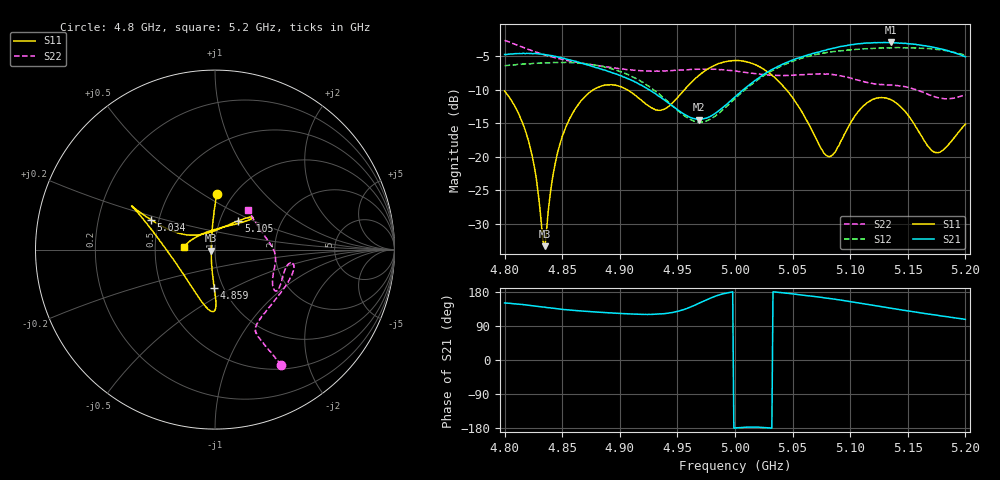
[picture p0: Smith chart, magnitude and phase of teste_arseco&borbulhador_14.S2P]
! Network Analyzer HP8722D
! Hewlett-Packard
! Data name: Linha & Wilkinson
! Saver's name: Rodrigo Anjos
! Comments: Teste da utilização de aquisição
! continua pelo VNA HP8722D
! Time and date: 15/4/2025 15:45
!  Frequency  S11  S21  S12  S22
# HZ  S  MA R 50
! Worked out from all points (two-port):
!   401 points, 4.8 GHz to 5.2 GHz, reference 50 ohm
!   highest |S21| = -2.91 dB at 5.135 GHz (marker M1); lowest = -14.4 dB at 4.969 GHz (marker M2)
!   |S21| within 3 dB of the highest: start of sweep to 4.865 GHz; 5.045 GHz to end of sweep
!   lowest |S11| = -33.4 dB at 4.835 GHz (marker M3), VSWR 1.04, Z = 48 - j0.528 ohm
!   |S11| at or under -10 dB: start of sweep to 4.877 GHz; 4.907 GHz to 4.956 GHz (49.45 MHz wide, 1 % of centre); 5.045 GHz to end of sweep
!   |S22| runs from -11.3 to -2.6 dB; largest |S21 - S12| = 1.3
!   S11 on the Smith chart (normalised r, x): 4.8 GHz: 0.84, +0.58; 4.859 GHz: 0.91, -0.40; 5.034 GHz: 0.45, +0.18; 5.105 GHz: 1.22, +0.41; 5.2 GHz: 0.70, +0.02
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4.8e9  0.3106 88.2  0.5821 150.5  0.4805 -111.4  0.7407 -60.1
4.812e9  0.2123 91.4  0.5913 147.3  0.4899 -111.0  0.6769 -61.1
4.821e9  0.1293 96.2  0.5924 144.4  0.4962 -110.6  0.6328 -61.9
4.827e9  0.07327 104.7  0.5913 142.3  0.4991 -110.0  0.6079 -62.3
4.833e9  0.02475 146.9  0.5836 139.8  0.5027 -109.6  0.5847 -62.7
4.835e9  0.02145 -165.1  0.5803 139.2  0.5044 -109.4  0.5774 -63.0
4.845e9  0.09852 -100.0  0.5596 135.6  0.5072 -108.7  0.5465 -63.5
4.859e9  0.2113 -91.2  0.5236 131.2  0.505 -108.5  0.5157 -63.9
4.867e9  0.2656 -89.4  0.4999 129.3  0.4993 -108.7  0.5014 -63.2
4.895e9  0.3435 -93.5  0.4208 123.6  0.4484 -111.4  0.4605 -57.2
4.934e9  0.2227 -145.8  0.2832 121.0  0.2959 -116.4  0.4366 -35.6
4.969e9  0.4073 159.0  0.1899 150.2  0.1816 -85.7  0.4519 -16.9
5e9  0.5248 152.4  0.2801 -179.6  0.2722 -49.8  0.4373 -9.9
5.034e9  0.3947 154.9  0.4582 179.6  0.4489 -43.3  0.4066 -15.3
5.067e9  0.1565 149.2  0.5906 168.3  0.5746 -46.4  0.4143 -29.2
5.083e9  0.1008 102.3  0.6406 161.9  0.6072 -49.4  0.4124 -33.7
5.105e9  0.2072 50.9  0.6954 151.6  0.636 -54.2  0.3772 -31.6
5.12e9  0.2691 42.5  0.7113 144.0  0.6466 -58.6  0.3519 -23.0
5.134e9  0.2699 40.2  0.7141 137.2  0.6509 -63.2  0.3439 -12.7
5.135e9  0.268 40.3  0.7154 136.8  0.653 -63.3  0.3439 -11.8
5.174e9  0.1075 104.1  0.6533 118.8  0.6373 -77.2  0.2798 19.9
5.2e9  0.1754 174.4  0.5584 107.3  0.5718 -86.1  0.2898 50.0
